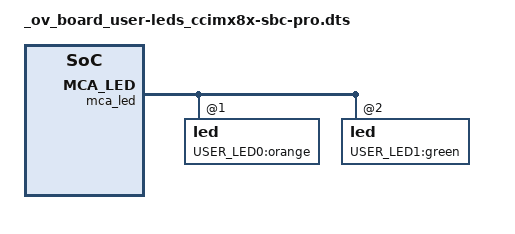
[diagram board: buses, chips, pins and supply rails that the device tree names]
/*
 * Copyright 2020 Digi International Inc.
 *
 * Permission to use, copy, modify, and/or distribute this software for any
 * purpose with or without fee is hereby granted, provided that the above
 * copyright notice and this permission notice appear in all copies.
 * THE SOFTWARE IS PROVIDED "AS IS" AND THE AUTHOR DISCLAIMS ALL WARRANTIES
 * WITH REGARD TO THIS SOFTWARE INCLUDING ALL IMPLIED WARRANTIES OF
 * MERCHANTABILITY AND FITNESS. IN NO EVENT SHALL THE AUTHOR BE LIABLE FOR
 * ANY SPECIAL, DIRECT, INDIRECT, OR CONSEQUENTIAL DAMAGES OR ANY DAMAGES
 * WHATSOEVER RESULTING FROM LOSS OF USE, DATA OR PROFITS, WHETHER IN AN
 * ACTION OF CONTRACT, NEGLIGENCE OR OTHER TORTIOUS ACTION, ARISING OUT OF
 * OR IN CONNECTION WITH THE USE OR PERFORMANCE OF THIS SOFTWARE.
 */

/dts-v1/;
/plugin/;

/ {
	fragment@0 {
		target-path = "/";
		__overlay__ {
			overlay-description = "SBC: User LEDs";
		};
	};

	/* Enable USER_LED1 and USER_LED2 as mca-led */
	fragment@1 {
		target = <&mca_led>;
		__overlay__ {
			#address-cells = <1>;
			#size-cells = <0>;
			status = "okay";

			led@1 {
				reg = <1>;
				label = "USER_LED0:orange";
				io = <18>;
				/* Configure led for blinking at boot */
				linux,default-trigger = "timer";
				led-pattern = <100>, <1000>;
				retain-state-suspended;
			};

			led@2 {
				reg = <2>;
				label = "USER_LED1:green";
				io = <10>;
				/* Configure led for blinking at boot */
				linux,default-trigger = "timer";
				led-pattern = <5000>, <5000>;
				retain-state-suspended;
			};
		};
	};
};
